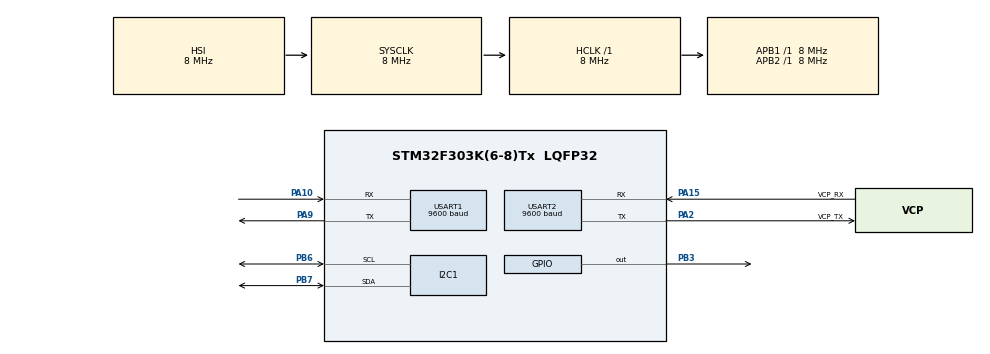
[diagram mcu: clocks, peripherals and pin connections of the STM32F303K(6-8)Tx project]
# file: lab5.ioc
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Mcu.Family=STM32F3
Mcu.Name=STM32F303K(6-8)Tx
Mcu.Package=LQFP32
NVIC.I2C1_ER_IRQn=true\:0\:0\:false\:false\:true\:true\:true\:true
NVIC.I2C1_EV_IRQn=true\:0\:0\:false\:false\:true\:true\:true\:true
NVIC.PriorityGroup=NVIC_PRIORITYGROUP_4
NVIC.USART1_IRQn=true\:0\:0\:false\:false\:true\:true\:true\:true
PA10.Mode=Asynchronous
PA10.Signal=USART1_RX
PA13.GPIO_Label=SWDIO
PA13.Mode=Serial_Wire
PA13.Signal=SYS_JTMS-SWDIO
PA14.GPIO_Label=SWCLK
PA14.Mode=Serial_Wire
PA14.Signal=SYS_JTCK-SWCLK
PA15.GPIO_Label=VCP_RX
PA15.Mode=Asynchronous
PA15.Signal=USART2_RX
PA2.GPIO_Label=VCP_TX
PA2.Mode=Asynchronous
PA2.Signal=USART2_TX
PA9.Mode=Asynchronous
PA9.Signal=USART1_TX
PB3.Signal=GPIO_Output
PB6.Mode=I2C
PB6.Signal=I2C1_SCL
PB7.Mode=I2C
PB7.Signal=I2C1_SDA
PF0\ /\ OSC_IN.GPIO_Label=MCO
PF0\ /\ OSC_IN.Mode=HSE-External-Oscillator
PF0\ /\ OSC_IN.Signal=RCC_OSC_IN
PF1\ /\ OSC_OUT.Mode=HSE-External-Oscillator
PF1\ /\ OSC_OUT.Signal=RCC_OSC_OUT
ProjectManager.HeapSize=0x200
ProjectManager.StackSize=0x400
ProjectManager.TargetToolchain=MDK-ARM V5.32
RCC.AHBFreq_Value=8000000
RCC.APB1Freq_Value=8000000
RCC.APB2Freq_Value=8000000
RCC.CortexFreq_Value=8000000
RCC.HSE_VALUE=8000000
RCC.HSI_VALUE=8000000
RCC.SYSCLKFreq_VALUE=8000000
USART1.BaudRate=9600
USART1.VirtualMode-Asynchronous=VM_ASYNC
USART2.BaudRate=9600
USART2.VirtualMode-Asynchronous=VM_ASYNC
board=NUCLEO-F303K8

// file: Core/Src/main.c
/* USER CODE BEGIN Header */
/**
  ******************************************************************************
  * @file           : main.c
  * @brief          : Main program body
  ******************************************************************************
  * @attention
  *
  * Copyright (c) 2024 STMicroelectronics.
  * All rights reserved.
  *
  * This software is licensed under terms that can be found in the LICENSE file
  * in the root directory of this software component.
  * If no LICENSE file comes with this software, it is provided AS-IS.
  *
  ******************************************************************************
  */
/* USER CODE END Header */
#include "main.h"

I2C_HandleTypeDef hi2c1;

UART_HandleTypeDef huart1;
UART_HandleTypeDef huart2;

void SystemClock_Config(void);
static void MX_GPIO_Init(void);
static void MX_USART2_UART_Init(void);
static void MX_I2C1_Init(void);
static void MX_USART1_UART_Init(void);

/* USER CODE BEGIN 0 */
	#include "stdio.h"

/* USER CODE END 0 */

int main(void)
{
  /* USER CODE BEGIN 1 */
	HAL_Init();
	SystemClock_Config();
	MX_GPIO_Init();
	MX_I2C1_Init();
	MX_USART2_UART_Init();

  /* USER CODE END 1 */

  /* MCU Configuration--------------------------------------------------------*/

  /* Reset of all peripherals, Initializes the Flash interface and the Systick. */
  HAL_Init();

  /* Configure the system clock */
  SystemClock_Config();

  /* Initialize all configured peripherals */
  MX_GPIO_Init();
  MX_USART2_UART_Init();
  MX_I2C1_Init();
  MX_USART1_UART_Init();
  /* USER CODE BEGIN 2 */
	 //check that device is ready to operate
	if (HAL_I2C_IsDeviceReady(&hi2c1, 0xD0, 10, HAL_MAX_DELAY) == HAL_OK)
	{
	for (int i = 1; i<=10;i++) // indicator of ready device
	{
		HAL_GPIO_TogglePin(GPIOB, GPIO_PIN_3);
		HAL_Delay(250);
	}
	}

	//Transmit via I2C to set clock to 7:15:35 am
	uint8_t secbuffer[2], minbuffer[2], hourbuffer[2],
					ctrl[2],  tempLsb[2];

	uint8_t tempMsb[2];

	// alarm mask
	ctrl[0] = 0x1E;
	ctrl[1] = 0x1D;

	tempMsb[0] = 0x11;
	tempLsb[0] = 0x12;

	HAL_I2C_Master_Transmit(&hi2c1, 0xD0, ctrl, 2, 10);

	// seconds
	secbuffer[0] = 0x00; //register address
	secbuffer[1] = 0x00; //data to put in register --> 00 sec
	HAL_I2C_Master_Transmit(&hi2c1, 0xD0, secbuffer, 2, 10);
	// minutes
	minbuffer[0] = 0x01; //register address
	minbuffer[1] = 0x46; //data to put in register --> 46 min
	HAL_I2C_Master_Transmit(&hi2c1, 0xD0, minbuffer, 2, 10);
	// hours
	hourbuffer[0] = 0x02; //register address
	hourbuffer[1] = 0x12; //data to put in register 00010010 --> 12 pm
	HAL_I2C_Master_Transmit(&hi2c1, 0xD0, hourbuffer, 2, 10);

	//Receive via I2C and forward to UART
	uint8_t h1,h2,m1,m2,s1,s2;
	char uartBuf [200] = {0};
	char uartBuf2 [200] = {0};
	int tempMsbSign = tempMsb[1] >> 7;
	tempMsb[1] = (tempMsbSign == 1 ? (~tempMsb[1] + 1) : tempMsb[1]);

	while (1)
	{
		//send seconds register address 00h to read from
		HAL_I2C_Master_Transmit(&hi2c1, 0xD0, secbuffer, 1, 10);
		//read data of register 00h to secbuffer[1]
		HAL_I2C_Master_Receive(&hi2c1, 0xD1, secbuffer+1, 1, 10);
		//prepare UART output
		s1 = secbuffer[1] >> 4;
		s2 = secbuffer[1] & 0x0F;
		HAL_I2C_Master_Transmit(&hi2c1, 0xD0, minbuffer, 1, 10);
		HAL_I2C_Master_Receive(&hi2c1, 0xD1, minbuffer+1, 1, 10);
		m1 = minbuffer[1] >> 4;
		m2 = minbuffer[1] & 0x0F;
		HAL_I2C_Master_Transmit(&hi2c1, 0xD0, hourbuffer, 1, 10);
		HAL_I2C_Master_Receive(&hi2c1, 0xD1, hourbuffer+1, 1, 10);

		HAL_I2C_Master_Transmit(&hi2c1, 0xD0, tempMsb, 1, 10);
		HAL_I2C_Master_Receive(&hi2c1, 0xD1, tempMsb+1, 1, 10);

		HAL_I2C_Master_Transmit(&hi2c1, 0xD0, tempLsb, 1, 10);
		HAL_I2C_Master_Receive(&hi2c1, 0xD1, tempLsb+1, 1, 10);

		int tempFrac = ((tempLsb[1] >> 6)/4.0) * 100; //10000000 10
		h1 = (hourbuffer[1] >> 4) & 1;
		h2 = hourbuffer[1] & 0x0F;
		// transmit time to UART
		//  - Temp %d.%d\r\n  , tempMsb[1], tempFrac
		sprintf(uartBuf, "%d%d:%d%d:%d%d ",h1,h2,m1,m2,s1,s2);
		HAL_UART_Transmit(&huart1, (uint8_t *)uartBuf, sizeof(uartBuf), 10);

		sprintf(uartBuf2, tempMsbSign == 0 ? "%d.%dC \r\n" : "-%d.%dC \r\n", tempMsb[1], tempFrac);
		HAL_UART_Transmit(&huart1, (uint8_t *)uartBuf2, sizeof(uartBuf), 10);
		HAL_Delay(1000);
	}
  /* USER CODE END 2 */

  /* Infinite loop */

}

void SystemClock_Config(void)
{
  RCC_OscInitTypeDef RCC_OscInitStruct = {0};
  RCC_ClkInitTypeDef RCC_ClkInitStruct = {0};
  RCC_PeriphCLKInitTypeDef PeriphClkInit = {0};

  /** Initializes the RCC Oscillators according to the specified parameters
  * in the RCC_OscInitTypeDef structure.
  */
  RCC_OscInitStruct.OscillatorType = RCC_OSCILLATORTYPE_HSI;
  RCC_OscInitStruct.HSIState = RCC_HSI_ON;
  RCC_OscInitStruct.HSICalibrationValue = RCC_HSICALIBRATION_DEFAULT;
  RCC_OscInitStruct.PLL.PLLState = RCC_PLL_NONE;
  if (HAL_RCC_OscConfig(&RCC_OscInitStruct) != HAL_OK)
  {
    Error_Handler();
  }

  /** Initializes the CPU, AHB and APB buses clocks
  */
  RCC_ClkInitStruct.ClockType = RCC_CLOCKTYPE_HCLK|RCC_CLOCKTYPE_SYSCLK
                              |RCC_CLOCKTYPE_PCLK1|RCC_CLOCKTYPE_PCLK2;
  RCC_ClkInitStruct.SYSCLKSource = RCC_SYSCLKSOURCE_HSI;
  RCC_ClkInitStruct.AHBCLKDivider = RCC_SYSCLK_DIV1;
  RCC_ClkInitStruct.APB1CLKDivider = RCC_HCLK_DIV1;
  RCC_ClkInitStruct.APB2CLKDivider = RCC_HCLK_DIV1;

  if (HAL_RCC_ClockConfig(&RCC_ClkInitStruct, FLASH_LATENCY_0) != HAL_OK)
  {
    Error_Handler();
  }
  PeriphClkInit.PeriphClockSelection = RCC_PERIPHCLK_USART1|RCC_PERIPHCLK_I2C1;
  PeriphClkInit.Usart1ClockSelection = RCC_USART1CLKSOURCE_PCLK1;
  PeriphClkInit.I2c1ClockSelection = RCC_I2C1CLKSOURCE_HSI;
  if (HAL_RCCEx_PeriphCLKConfig(&PeriphClkInit) != HAL_OK)
  {
    Error_Handler();
  }
}

static void MX_I2C1_Init(void)
{

  hi2c1.Instance = I2C1;
  hi2c1.Init.Timing = 0x2000090E;
  hi2c1.Init.OwnAddress1 = 0;
  hi2c1.Init.AddressingMode = I2C_ADDRESSINGMODE_7BIT;
  hi2c1.Init.DualAddressMode = I2C_DUALADDRESS_DISABLE;
  hi2c1.Init.OwnAddress2 = 0;
  hi2c1.Init.OwnAddress2Masks = I2C_OA2_NOMASK;
  hi2c1.Init.GeneralCallMode = I2C_GENERALCALL_DISABLE;
  hi2c1.Init.NoStretchMode = I2C_NOSTRETCH_DISABLE;
  if (HAL_I2C_Init(&hi2c1) != HAL_OK)
  {
    Error_Handler();
  }

  /** Configure Analogue filter
  */
  if (HAL_I2CEx_ConfigAnalogFilter(&hi2c1, I2C_ANALOGFILTER_ENABLE) != HAL_OK)
  {
    Error_Handler();
  }

  /** Configure Digital filter
  */
  if (HAL_I2CEx_ConfigDigitalFilter(&hi2c1, 0) != HAL_OK)
  {
    Error_Handler();
  }

}

static void MX_USART1_UART_Init(void)
{

  huart1.Instance = USART1;
  huart1.Init.BaudRate = 9600;
  huart1.Init.WordLength = UART_WORDLENGTH_8B;
  huart1.Init.StopBits = UART_STOPBITS_1;
  huart1.Init.Parity = UART_PARITY_NONE;
  huart1.Init.Mode = UART_MODE_TX_RX;
  huart1.Init.HwFlowCtl = UART_HWCONTROL_NONE;
  huart1.Init.OverSampling = UART_OVERSAMPLING_16;
  huart1.Init.OneBitSampling = UART_ONE_BIT_SAMPLE_DISABLE;
  huart1.AdvancedInit.AdvFeatureInit = UART_ADVFEATURE_NO_INIT;
  if (HAL_UART_Init(&huart1) != HAL_OK)
  {
    Error_Handler();
  }

}

static void MX_USART2_UART_Init(void)
{

  huart2.Instance = USART2;
  huart2.Init.BaudRate = 9600;
  huart2.Init.WordLength = UART_WORDLENGTH_8B;
  huart2.Init.StopBits = UART_STOPBITS_1;
  huart2.Init.Parity = UART_PARITY_NONE;
  huart2.Init.Mode = UART_MODE_TX_RX;
  huart2.Init.HwFlowCtl = UART_HWCONTROL_NONE;
  huart2.Init.OverSampling = UART_OVERSAMPLING_16;
  huart2.Init.OneBitSampling = UART_ONE_BIT_SAMPLE_DISABLE;
  huart2.AdvancedInit.AdvFeatureInit = UART_ADVFEATURE_NO_INIT;
  if (HAL_UART_Init(&huart2) != HAL_OK)
  {
    Error_Handler();
  }

}

static void MX_GPIO_Init(void)
{
  GPIO_InitTypeDef GPIO_InitStruct = {0};

  /* GPIO Ports Clock Enable */
  __HAL_RCC_GPIOF_CLK_ENABLE();
  __HAL_RCC_GPIOA_CLK_ENABLE();
  __HAL_RCC_GPIOB_CLK_ENABLE();

  /*Configure GPIO pin Output Level */
  HAL_GPIO_WritePin(GPIOB, GPIO_PIN_3, GPIO_PIN_RESET);

  /*Configure GPIO pin : PB3 */
  GPIO_InitStruct.Pin = GPIO_PIN_3;
  GPIO_InitStruct.Mode = GPIO_MODE_OUTPUT_PP;
  GPIO_InitStruct.Pull = GPIO_NOPULL;
  GPIO_InitStruct.Speed = GPIO_SPEED_FREQ_LOW;
  HAL_GPIO_Init(GPIOB, &GPIO_InitStruct);

}

void Error_Handler(void)
{
  __disable_irq();
  while (1)
  {
  }
}
